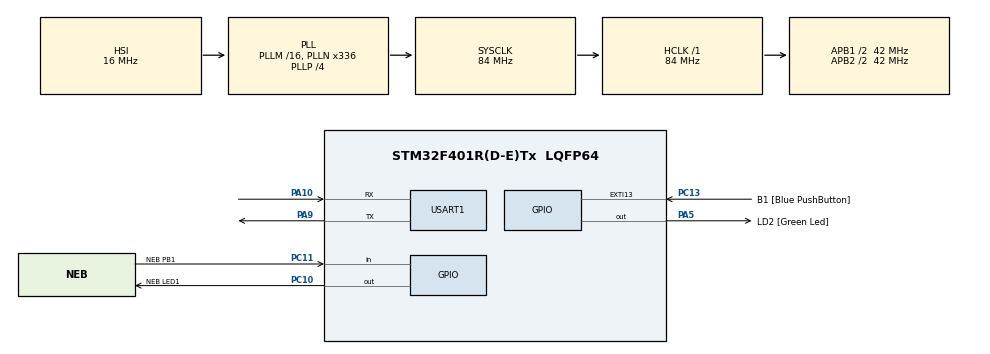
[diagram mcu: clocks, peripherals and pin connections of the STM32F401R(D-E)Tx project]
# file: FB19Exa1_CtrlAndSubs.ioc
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Mcu.Family=STM32F4
Mcu.Name=STM32F401R(D-E)Tx
Mcu.Package=LQFP64
NVIC.PriorityGroup=NVIC_PRIORITYGROUP_2
PA10.Mode=Asynchronous
PA10.Signal=USART1_RX
PA13.GPIO_Label=TMS
PA13.Mode=Serial_Wire
PA13.Signal=SYS_JTMS-SWDIO
PA14.GPIO_Label=TCK
PA14.Mode=Serial_Wire
PA14.Signal=SYS_JTCK-SWCLK
PA5.GPIO_Label=LD2 [Green Led]
PA5.GPIO_Mode=GPIO_MODE_OUTPUT_PP
PA5.GPIO_PuPd=GPIO_NOPULL
PA5.GPIO_Speed=GPIO_SPEED_FREQ_LOW
PA5.Signal=GPIO_Output
PA9.Mode=Asynchronous
PA9.Signal=USART1_TX
PB3.GPIO_Label=SWO
PB3.Signal=SYS_JTDO-SWO
PC10.GPIO_Label=NEB LED1
PC10.Signal=GPIO_Output
PC11.GPIO_Label=NEB PB1
PC11.GPIO_PuPd=GPIO_NOPULL
PC11.Signal=GPIO_Input
PC13-ANTI_TAMP.GPIO_Label=B1 [Blue PushButton]
PC13-ANTI_TAMP.GPIO_ModeDefaultEXTI=GPIO_MODE_IT_FALLING
PC13-ANTI_TAMP.GPIO_PuPd=GPIO_NOPULL
PC13-ANTI_TAMP.Signal=GPXTI13
PC14-OSC32_IN.Mode=LSE-External-Oscillator
PC14-OSC32_IN.Signal=RCC_OSC32_IN
PC15-OSC32_OUT.Mode=LSE-External-Oscillator
PC15-OSC32_OUT.Signal=RCC_OSC32_OUT
PH0\ -\ OSC_IN.Mode=HSE-External-Clock-Source
PH0\ -\ OSC_IN.Signal=RCC_OSC_IN
PH1\ -\ OSC_OUT.Mode=HSE-External-Clock-Source
PH1\ -\ OSC_OUT.Signal=RCC_OSC_OUT
ProjectManager.HeapSize=0x200
ProjectManager.StackSize=0x400
ProjectManager.TargetToolchain=STM32CubeIDE
RCC.48MHZClocksFreq_Value=48000000
RCC.AHBFreq_Value=84000000
RCC.APB1CLKDivider=RCC_HCLK_DIV2
RCC.APB1Freq_Value=42000000
RCC.APB1TimFreq_Value=84000000
RCC.APB2CLKDivider=RCC_HCLK_DIV2
RCC.APB2Freq_Value=42000000
RCC.APB2TimFreq_Value=84000000
RCC.CortexFreq_Value=84000000
RCC.HCLKFreq_Value=84000000
RCC.HSE_VALUE=8000000
RCC.HSI_VALUE=16000000
RCC.PLLN=336
RCC.PLLP=RCC_PLLP_DIV4
RCC.PLLQ=7
RCC.SYSCLKFreq_VALUE=84000000
RCC.SYSCLKSource=RCC_SYSCLKSOURCE_PLLCLK
RCC.VCOOutputFreq_Value=336000000
USART1.VirtualMode=VM_ASYNC
board=NUCLEO-F401RE

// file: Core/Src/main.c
/* USER CODE BEGIN Header */
/*
 *  Filename:       main.c
 *  Platform(s):    STM32F401x
 *  Project:        FB19Exa1_CtrlAndSubs
 *  Created:        December 05, 2023
 *  Description:    This file implements the main() function of this application.
 *
 *  Glossary:       LED:    Light Emitting Diode
 *                  NEB:    Nucleo Expansion Board for RS-232 & RS-485
 *                          communication by Bitcontrol GmbH, Switzerland,
 *                          v2.2 or higher
 *                  PB:     Push Button
 *
 *                  Responsibilities
 *                  ================
 *                  This application transmits messages containing the status of
 *                  a single digital input (PB1 on the NEB) as FB19 Controller
 *                  using USART2, and receives them as FB19 Subscriber using
 *                  USART6.
 *
 *                  The Subscriber switches a single digital output on or off
 *                  (LED1 on the NEB) depending on the state of the digital
 *                  input. If the number is 0, the LED is switched off,
 *                  otherwise it is switched on.
 *
 *                  It then returns the number to the FB19 Controller.
 *                  This ping-pong schema is repeated periodically twice per
 *                  second.
 *                  USART1 is used to display this process on a serial terminal.
 *
 *                  FB19 Libraries
 *                  ==============
 *                  - FB19CtrlLib
 *                  - FB19SubsLib
 *
 *                  Configuration
 *                  =============
 *                  FB19 Bitrate: 100kbit/s
 *                  FB19 Controller bus address: 0 (fix per specification)
 *                  FB19 Subscriber bus address: 1
 *                  FB19 Bus: RS-485 (not RS-232!)
 *                  USART1 RS-232 parameters: 115200/8/N/1
 *                  Used SoC resources:
 *                  - GPIOA, bit 7: FB19Subs RS-485 driver Data Output Enable
 *                  - GPIOA, bit 8: FB19Ctrl RS-485 driver Data Output Enable
 *                  - GPIOC, bit 10: Digital output for setting LED1 state
 *                  - GPIOC, bit 11: Digital input for sensing PB1 state
 *                  - TIM2: FB19Ctrl
 *                  - TIM3: FB19Subs
 *                  - USART1 (UART1): RS-232 Terminal
 *                  - USART2 (UART2): FB19Ctrl (observe required solder bridge
 *                    changes on Nucleo board!)
 *                  - USART6 (UART3): FB19Subs
 *                  Hardware:
 *                  - Nucleo Board: Nucleo-64 STM32F401
 *                    - Solder bridge settings different from default:
 *                      SB13: Off, SB14: Off, SB61: Off, SB62: On, SB63: On
 *                  - Nucleo Expansion Board for RS-232 & RS-485 communication
 *                    - This board contains jumpers that relate to the bus
 *                      system:
 *                      - JP4, JP5, JP6, JP7: Connect pins 1 & 2
 *                        This selects RS-485 for UART 2 and UART3
 *                      - JP8, JP9: Connect pins 2 & 3
 *                        This connects UART3 to J2
 *
 *                  Fault Behavior
 *                  ==============
 *                  Assumptions:
 *                  - All required jumpers are at their position (see above)
 *                  - The loopback cable that connects J1 with J2 of the NEB
 *                    is in place
 *                  If the assumptions above are met, the removal of one or
 *                  more jumpers has the effects as described below.
 *                  When the jumpers are re-inserted, the bus system will
 *                  resume normal operation immediately.
 *                  For details of the jumper wiring see the electrical
 *                  diagram.
 *                  Jumper removal:
 *
 *                  - JP4 and JP5 for USART2 (Bus Controller):
 *                    - JP4 (Rx) is removed, JP5 stays inserted (disconnect
 *                      Bus Ctrl UART Rx signal from transceiver data output
 *                      pin):
 *                      The PB1 -> LED1 functionality works. Reason:
 *                      The messages are successfully submitted to the Bus
 *                      Controller (FB19Ctrl_submit() returns R_SUCCESS) and
 *                      sent to the Bus Subscriber, which returns the expected
 *                      response frame. However, the 'Rx listens Tx' feature
 *                      detects the missing characters during transmission and
 *                      flags a frame transmission error (error 0x01 -
 *                      FB19_DRV_ERR_BUS_FRM_TX) in the response message.
 *                    - JP5 (Tx) is removed, JP4 stays inserted (disconnect
 *                      Bus Ctrl UART Tx signal from its transceiver data input
 *                      pin):
 *                      The PB1 -> LED1 functionality doesn't work. Reason:
 *                      The messages are successfully submitted to the Bus
 *                      Controller (FB19Ctrl_submit() returns R_SUCCESS), but
 *                      they never reach the Bus Subscriber since the transmit
 *                      data signal to the transceiver is interrupted. The
 *                      Bus Controller flags a frame transmission error
 *                      (error 0x01 - FB19_DRV_ERR_BUS_FRM_TX) in the response
 *                      message.
 *                    - JP4 (Rx) and JP5 (Tx) are removed:
 *                      The behavior is identical to the case where JP5 is
 *                      removed and JP4 stays inserted.
 *
 *                  - JP6 and JP7 for USART6 (Bus Subscriber):
 *                    - JP6 (Rx) is removed, JP7 stays inserted (disconnect
 *                      Bus Subs UART Rx signal from transceiver data output
 *                      pin):
 *                      The PB1 -> LED1 functionality doesn't work. Reason:
 *                      The messages are successfully submitted to the Bus
 *                      Controller (FB19Ctrl_submit() returns R_SUCCESS) and
 *                      sent to the Bus Subscriber. They don't arrive there
 *                      however since the receive data signal from the
 *                      transceiver is interrupted. The Bus Controller
 *                      subsequently flags a response timeout error (0x80 -
 *                      FB19_DRV_ERR_BUS_RSP_FRM_TMO) in the response message.
 *                    - JP7 (Tx) is removed, JP6 stays inserted (disconnect
 *                      Bus Subs UART Tx signal from its transceiver data input
 *                      pin):
 *                      The PB1 -> LED1 functionality works. Reason:
 *                      The messages are successfully submitted to the Bus
 *                      Controller (FB19Ctrl_submit() returns R_SUCCESS) and
 *                      sent to the Bus Subscriber. The subscriber processes
 *                      the messages and transmits the results back to the Bus
 *                      Controller. They don't arrive there however since the
 *                      transmit data signal to the transceiver is interrupted;
 *                      the frame doesn't reach the transceiver.
 *                      The Bus Controller subsequently flags a response timeout
 *                      error (0x80 - FB19_DRV_ERR_BUS_RSP_FRM_TMO) in the
 *                      response message.
 *                    - JP6 (Rx) and JP7 (Tx) are removed:
 *                      The behavior is identical to the case where JP6 is
 *                      removed and JP7 stays inserted.
 *
 *                  - JP8 and JP9 for the connector J2, which is assigned to the
 *                    FB19 Subscriber:
 *                    - JP8 is removed, JP9 stays inserted:
 *                      The RS-485 positive line is disconnected from its driver
 *                      (Rx and Tx); since the negative line is still connected
 *                      via JP9, the RS-485 bus still works on short lines.
 *                      Thus this action shows no effects.
 *                    - JP9 is removed, JP8 stays inserted:
 *                      The RS-485 negative line is disconnected from its driver
 *                      (Rx and Tx); since the positive line is still connected
 *                      via JP8, the RS-485 bus still works on short lines.
 *                      Thus this action shows no effects.
 *                    - JP8 and JP9 are removed:
 *                      Both RS-485 signal lines are disconnected from their
 *                      driver; this disconnects the Bus Subscriber from the
 *                      RS-485 bus.
 *                      Thus the Bus Controller transmits messages to the bus,
 *                      but doesn't receive responses from the FB19 Subscriber.
 *                      The Bus Controller subsequently flags a response timeout
 *                      error (0x80 - FB19_DRV_ERR_BUS_RSP_FRM_TMO) in the
 *                      response message.
 *
 *  Notes:          The initial version of this file was generated using
 *                  STMicroelectronics STM32CubeMX, v6.8.0.
 *                  Bitcontrol GmbH is grateful for ST's free of charge tools
 *                  and recommends them to any programmer, from hobbyist to
 *                  professional.
 *
 *                  Local symbols and functions that are user code specific
 *                  start with my_ or MY_ respectively for easy spotting.
 *
 *  Author:         Andreas Isenegger
 *  Copyright:      2023, Bitcontrol GmbH, Switzerland.
 *                  All rights reserved.
 */
/* USER CODE END Header */
#include "main.h"

/* USER CODE BEGIN Includes */
#include <stdio.h> // For printf()

#include "FB19Ctrl.h"
#include "FB19CtrlCfg.h"
#include "FB19LibMsg.h"
#include "FB19Subs.h"
#include "FB19SubsCfg.h"
/* USER CODE END Includes */

/* USER CODE BEGIN PD */
#define MY_BIT_RATE                     100000 // [bit/s]
#define MY_MAIN_LOOP_PERIOD_MS          500    // [ms]
#define MY_MESSAGE_IDENTIFIER           FB19_MSG_ID_USR_LOWEST
#define MY_SUBSCRIBER_BUS_ADDRESS       FB19_BUS_ADDR_SUBS_LOWEST
/* USER CODE END PD */

UART_HandleTypeDef huart1;

void SystemClock_Config(void);
static void MX_GPIO_Init(void);
static void MX_USART1_UART_Init(void);
/* USER CODE BEGIN PFP */
/* These convenience functions capture the different actions. */
static int myStartFB19(void);
static void myCtrlDisplayResponseMsg(void);
static void myCtrlSendToSubs(BOOL  payload);
static void mySubsProcessMsg(void); // Comprises fetch, process, submit
static void myWaitForTick(void);
/* USER CODE END PFP */

int main(void)
{

    /* MCU Configuration--------------------------------------------------------*/

    /* Reset of all peripherals, Initializes the Flash interface and the Systick. */
    HAL_Init();

    /* USER CODE BEGIN Init */
    __HAL_DBGMCU_FREEZE_TIM2();
    __HAL_DBGMCU_FREEZE_TIM3();
    /* USER CODE END Init */

    /* Configure the system clock */
    SystemClock_Config();

    /* USER CODE BEGIN SysInit */
    HAL_SetTickFreq(HAL_TICK_FREQ_100HZ);
    /* USER CODE END SysInit */

    /* Initialize all configured peripherals */
    MX_GPIO_Init();
    MX_USART1_UART_Init();
    /* USER CODE BEGIN 2 */
    int status = myStartFB19(); // Start Controller and Subscriber instances
    if (status != R_SUCCESS)
    {
        return 1; // Terminate application, return error value
    }
    /* USER CODE END 2 */

    /* Infinite loop */
    /* USER CODE BEGIN WHILE */
    BOOL buttonPressed = FALSE;
    int rel_time_ms = 0;
    while (1)
    {
        /* Call the FB19 handler functions periodically. */
        FB19Ctrl_handler(&myInstFB19Ctrl);
        FB19Subs_handler(&myInstFB19Subs);

        if (rel_time_ms == 0)
        {
            /* Perform domain specific tasks. */
            buttonPressed = GPIOC->IDR & (1 << 11) ? FALSE : TRUE; // 3.3V when NOT pressed
            myCtrlSendToSubs(buttonPressed);
        }
        mySubsProcessMsg(); // Fetch msg from Rx queue, process it, submit result to Tx queue
        myCtrlDisplayResponseMsg();

        /* Slow this loop down as desired. */
        myWaitForTick(); // Tick frequency is 100Hz; see HAL_SetTickFreq() above
        rel_time_ms += uwTickFreq; // It's actually the period, not the frequency
        rel_time_ms %= MY_MAIN_LOOP_PERIOD_MS;
        /* USER CODE END WHILE */

        /* USER CODE BEGIN 3 */
    }
    return 0; // If ever reached
    /* USER CODE END 3 */
}

void SystemClock_Config(void)
{
  RCC_OscInitTypeDef RCC_OscInitStruct = {0};
  RCC_ClkInitTypeDef RCC_ClkInitStruct = {0};

  /** Configure the main internal regulator output voltage
  */
  __HAL_RCC_PWR_CLK_ENABLE();
  __HAL_PWR_VOLTAGESCALING_CONFIG(PWR_REGULATOR_VOLTAGE_SCALE2);

  /** Initializes the RCC Oscillators according to the specified parameters
  * in the RCC_OscInitTypeDef structure.
  */
  RCC_OscInitStruct.OscillatorType = RCC_OSCILLATORTYPE_HSI;
  RCC_OscInitStruct.HSIState = RCC_HSI_ON;
  RCC_OscInitStruct.HSICalibrationValue = RCC_HSICALIBRATION_DEFAULT;
  RCC_OscInitStruct.PLL.PLLState = RCC_PLL_ON;
  RCC_OscInitStruct.PLL.PLLSource = RCC_PLLSOURCE_HSI;
  RCC_OscInitStruct.PLL.PLLM = 16;
  RCC_OscInitStruct.PLL.PLLN = 336;
  RCC_OscInitStruct.PLL.PLLP = RCC_PLLP_DIV4;
  RCC_OscInitStruct.PLL.PLLQ = 7;
  if (HAL_RCC_OscConfig(&RCC_OscInitStruct) != HAL_OK)
  {
    Error_Handler();
  }

  /** Initializes the CPU, AHB and APB buses clocks
  */
  RCC_ClkInitStruct.ClockType = RCC_CLOCKTYPE_HCLK|RCC_CLOCKTYPE_SYSCLK
                              |RCC_CLOCKTYPE_PCLK1|RCC_CLOCKTYPE_PCLK2;
  RCC_ClkInitStruct.SYSCLKSource = RCC_SYSCLKSOURCE_PLLCLK;
  RCC_ClkInitStruct.AHBCLKDivider = RCC_SYSCLK_DIV1;
  RCC_ClkInitStruct.APB1CLKDivider = RCC_HCLK_DIV2;
  RCC_ClkInitStruct.APB2CLKDivider = RCC_HCLK_DIV2;

  if (HAL_RCC_ClockConfig(&RCC_ClkInitStruct, FLASH_LATENCY_2) != HAL_OK)
  {
    Error_Handler();
  }
}

static void MX_USART1_UART_Init(void)
{

  huart1.Instance = USART1;
  huart1.Init.BaudRate = 115200;
  huart1.Init.WordLength = UART_WORDLENGTH_8B;
  huart1.Init.StopBits = UART_STOPBITS_1;
  huart1.Init.Parity = UART_PARITY_NONE;
  huart1.Init.Mode = UART_MODE_TX_RX;
  huart1.Init.HwFlowCtl = UART_HWCONTROL_NONE;
  huart1.Init.OverSampling = UART_OVERSAMPLING_16;
  if (HAL_UART_Init(&huart1) != HAL_OK)
  {
    Error_Handler();
  }
  /* USER CODE BEGIN USART1_Init 2 */
    setvbuf(stdin, NULL, _IONBF, 0); // Disable console input buffering
  /* USER CODE END USART1_Init 2 */

}

static void MX_GPIO_Init(void)
{
  GPIO_InitTypeDef GPIO_InitStruct = {0};

  /* GPIO Ports Clock Enable */
  __HAL_RCC_GPIOC_CLK_ENABLE();
  __HAL_RCC_GPIOH_CLK_ENABLE();
  __HAL_RCC_GPIOA_CLK_ENABLE();
  __HAL_RCC_GPIOB_CLK_ENABLE();

  /*Configure GPIO pin Output Level */
  HAL_GPIO_WritePin(LD2_GPIO_Port, LD2_Pin, GPIO_PIN_RESET);

  /*Configure GPIO pin Output Level */
  HAL_GPIO_WritePin(NEB_LED1_GPIO_Port, NEB_LED1_Pin, GPIO_PIN_RESET);

  /*Configure GPIO pin : B1_Pin */
  GPIO_InitStruct.Pin = B1_Pin;
  GPIO_InitStruct.Mode = GPIO_MODE_IT_FALLING;
  GPIO_InitStruct.Pull = GPIO_NOPULL;
  HAL_GPIO_Init(B1_GPIO_Port, &GPIO_InitStruct);

  /*Configure GPIO pin : LD2_Pin */
  GPIO_InitStruct.Pin = LD2_Pin;
  GPIO_InitStruct.Mode = GPIO_MODE_OUTPUT_PP;
  GPIO_InitStruct.Pull = GPIO_NOPULL;
  GPIO_InitStruct.Speed = GPIO_SPEED_FREQ_LOW;
  HAL_GPIO_Init(LD2_GPIO_Port, &GPIO_InitStruct);

  /*Configure GPIO pin : NEB_LED1_Pin */
  GPIO_InitStruct.Pin = NEB_LED1_Pin;
  GPIO_InitStruct.Mode = GPIO_MODE_OUTPUT_PP;
  GPIO_InitStruct.Pull = GPIO_NOPULL;
  GPIO_InitStruct.Speed = GPIO_SPEED_FREQ_LOW;
  HAL_GPIO_Init(NEB_LED1_GPIO_Port, &GPIO_InitStruct);

  /*Configure GPIO pin : NEB_PB1_Pin */
  GPIO_InitStruct.Pin = NEB_PB1_Pin;
  GPIO_InitStruct.Mode = GPIO_MODE_INPUT;
  GPIO_InitStruct.Pull = GPIO_NOPULL;
  HAL_GPIO_Init(NEB_PB1_GPIO_Port, &GPIO_InitStruct);

}

/* USER CODE BEGIN 4 */
/*
 * FB19 Controller related: Display the response message from the Subscriber if
 * available.
 */
static void myCtrlDisplayResponseMsg(void)
{
    static uint32_t noiseCharFaultCount;
    static uint32_t rxFaultCount;
    static uint32_t txFaultCount;

    int32_t buttonPressed;
    FB19Msg_t msg;
    msg.dscr.msgId = MY_MESSAGE_IDENTIFIER;
    int status;
    uint32_t tmp;

    status = FB19Ctrl_fetch(&myInstFB19Ctrl, &msg);
    // status equals R_SUCCESS if a response has been received or the response
    // has timed out. In the latter case, the error FB19_DRV_ERR_BUS_RSP_FRM_TMO
    // is set inside the message.
    if (status == R_SUCCESS)
    {
        switch (msg.dscr.errSts)
        {
        case FB19_DRV_ERR_NONE: // Message received?
            FB19LibMsg_removeInt32(&msg, &buttonPressed); // Assume success, ignore return value
            printf("FB19Ctrl rxd msg with val=%li\n", buttonPressed);
            break;
        case FB19_DRV_ERR_BUS_RSP_FRM_TMO:
            printf("FB19Ctrl response message timed out\n");
            break;
        default:
            printf("FB19Ctrl rxd msg with error=%i\n", msg.dscr.errSts);
            break;
        }
        printf("\n");
    }

    /* Display error counts if they have changed. */
    FB19Ctrl_getNoiseFaultCount(&myInstFB19Ctrl, &tmp); // Processing return value optional
    if (noiseCharFaultCount != tmp)
    {
        noiseCharFaultCount = tmp;
        printf("FB19Ctrl noise char fault count=%lu\n", noiseCharFaultCount);
    }
    FB19Ctrl_getRxFaultCount(&myInstFB19Ctrl, &tmp); // Processing return value optional
    if (rxFaultCount != tmp)
    {
        rxFaultCount = tmp;
        printf("FB19Ctrl Rx fault count=%lu\n", rxFaultCount);
    }
    FB19Ctrl_getTxFaultCount(&myInstFB19Ctrl, &tmp); // Processing return value optional
    if (txFaultCount != tmp)
    {
        txFaultCount = tmp;
        printf("FB19Ctrl Tx fault count=%lu\n", txFaultCount);
    }
}

/*
 * FB19 Controller related: Submit a request message with the provided payload
 * value for transmission to the Subscriber.
 */
static void myCtrlSendToSubs(BOOL payload)
{
    FB19Msg_t msg; // Initialize these fields for avoiding side effects
    msg.dscr.dstAddr = MY_SUBSCRIBER_BUS_ADDRESS;
    msg.dscr.msgId = MY_MESSAGE_IDENTIFIER;
    msg.dscr.pldSize = 0;

    int status;

    FB19LibMsg_appendInt32(&msg, payload); // Assume success, ignore return value
    status = FB19Ctrl_submit(&myInstFB19Ctrl, &msg);
    if (status == R_SUCCESS)
    {
        printf("FB19Ctrl_submit() succeeded with val=%i\n", payload);
    }
    else
    {
        printf("FB19Ctrl_submit() failed\n");
    }
}

/*
 * FB19 Subscriber related: Fetch a message from the Rx queue if available,
 * switch the LED1 on or off depending on the message contents, and return
 * a response message with the LED1 status to the FB19 Controller.
 */
static void mySubsProcessMsg(void)
{
    static uint32_t noiseFaultCount;
    static uint32_t rxFaultCount;
    static uint32_t txFaultCount;

    int32_t buttonPressed;
    FB19Msg_t msg;
    msg.dscr.msgId = MY_MESSAGE_IDENTIFIER;
    int status;
    uint32_t tmp;

    status = FB19Subs_fetch(&myInstFB19Subs, &msg);
    // status equals R_ERROR unless there is a message with a matching
    // identifier in the receive queue.
    if (status == R_SUCCESS) // Message received?
    {
        if (msg.dscr.errSts == FB19_DRV_ERR_NONE)
        {
            status = FB19LibMsg_removeInt32(&msg, &buttonPressed);
            if (status == R_SUCCESS)
            {
                if (buttonPressed)
                {
                    GPIOC->ODR &= ~(1 << 10); // Switch LED1 on
                }
                else
                {
                    GPIOC->ODR |= (1 << 10); // Switch LED1 off
                }

                printf("FB19Subs rxd msg with val=%li\n", buttonPressed);
                msg.dscr.dstAddr = FB19_BUS_ADDR_CTRL;
                FB19LibMsg_appendInt32(&msg, buttonPressed); // Assume success, ignore return value
                status = FB19Subs_submit(&myInstFB19Subs, &msg);
                if (status == R_SUCCESS)
                {
                    printf("FB19Subs txd msg with val=%li\n", buttonPressed);
                }
                else
                {
                    printf("FB19Subs_submit() failed\n");
                }
            }
            else
            {
                printf("FB19LibMsg_removeInt32() failed\n");
            }
        }
        else
        {
            printf("FB19Subs rxd msg with error=%i\n", msg.dscr.errSts);
        }
    }

    /* Display error counts if they have changed. */
    FB19Subs_getNoiseFaultCount(&myInstFB19Subs, &tmp); // Processing return value is optional
    if (noiseFaultCount != tmp)
    {
        noiseFaultCount = tmp;
        printf("FB19Subs noise fault count=%lu\n", noiseFaultCount);
    }
    FB19Subs_getRxFaultCount(&myInstFB19Subs, &tmp); // Processing return value is optional
    if (rxFaultCount != tmp)
    {
        rxFaultCount = tmp;
        printf("FB19Subs Rx fault count=%lu\n", rxFaultCount);
    }
    FB19Subs_getTxFaultCount(&myInstFB19Subs, &tmp); // Processing return value is optional
    if (txFaultCount != tmp)
    {
        txFaultCount = tmp;
        printf("FB19Subs Tx fault count=%lu\n", txFaultCount);
    }
}

static int myStartFB19(void)
{
    int status;

    printf("FB19Ctrl version: %s\n", FB19Ctrl_getVersion());
    status = FB19Ctrl_start(&myInstFB19Ctrl, &myCfgFB19Ctrl, MY_BIT_RATE);
    if (status == R_SUCCESS)
    {
        printf("FB19Ctrl_start() succeeded\n");
    }
    else
    {
        printf("FB19Ctrl_start() failed\n");
    }
    printf("\n");

    if (status == R_SUCCESS)
    {
        printf("FB19Subs version: %s\n", FB19Subs_getVersion());
        status = FB19Subs_start(&myInstFB19Subs, &myCfgFB19Subs, MY_BIT_RATE);
        if (status == R_SUCCESS)
        {
            printf("FB19Subs_start() succeeded\n");
        }
        else
        {
            printf("FB19Subs_start() failed\n");
        }
    }
    printf("\n");
    return status;
}

static void myWaitForTick(void)
{
    volatile uint32_t tickCnt = HAL_GetTick();
    while (tickCnt == HAL_GetTick());
}
/* USER CODE END 4 */

void Error_Handler(void)
{
    __disable_irq();
    while (1)
    {
    }
}
